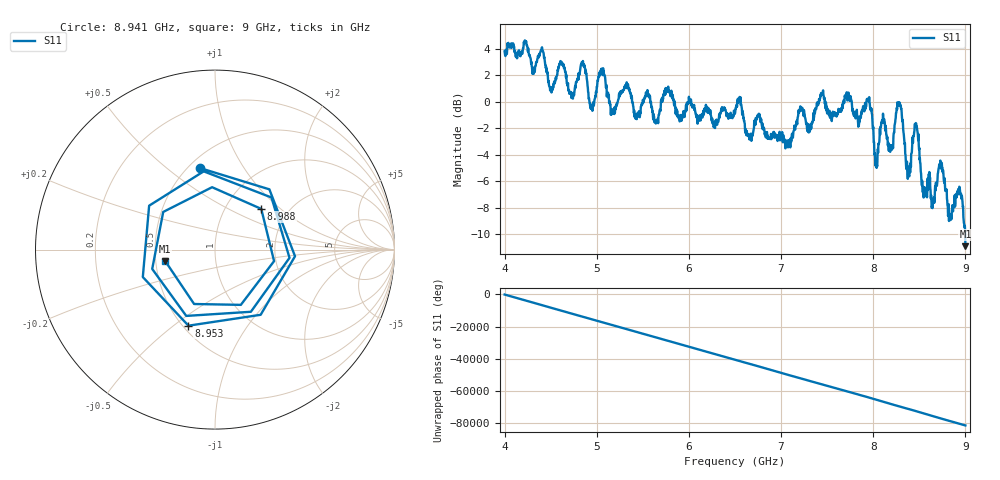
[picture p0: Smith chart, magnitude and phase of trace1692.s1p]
! Created with skrf 1.8.0 (http://scikit-rf.org).
# Hz S RI R 50.0
!freq ReS11 ImS11
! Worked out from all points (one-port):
!   1601 points, 4 GHz to 9 GHz, reference 50 ohm
!   lowest |S11| = -10.9 dB at 9 GHz (marker M1), VSWR 1.80, Z = 28.1 - j3.89 ohm
!   |S11| at or under -10 dB: 8.997602 GHz to end of sweep
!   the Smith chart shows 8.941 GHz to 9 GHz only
!   S11 on the Smith chart (normalised r, x): 8.941 GHz: 0.57, +0.66; 8.953 GHz: 0.53, -0.57; 8.988 GHz: 1.46, +0.75; 9 GHz: 0.56, -0.08
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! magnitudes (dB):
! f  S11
! 4 GHz  3.8
! 4.406 GHz  4.1
! 4.506 GHz  0.9
! 4.625 GHz  2.8
! 4.728 GHz  0.4
! 4.856 GHz  2.7
! 4.944 GHz  -0.4
! 5.05 GHz  2.2
! 5.172 GHz  -0.8
! 5.25 GHz  0.4
! 5.875 GHz  -0.8
! 6.5 GHz  -0.9
! 7.125 GHz  -2.4
! 7.75 GHz  0.3
! 7.956 GHz  0.3
! 8.038 GHz  -5.0
! 8.103 GHz  -1.5
! 8.194 GHz  -3.6
! 8.281 GHz  -0.2
! 8.375 GHz  -5.8
! 8.466 GHz  -1.7
! 8.559 GHz  -7.2
! 8.734 GHz  -5.0
! 8.831 GHz  -8.7
! 8.941 GHz  -6.7
! 8.953 GHz  -7.0
! 8.988 GHz  -9.3
! 9 GHz  -10.9
